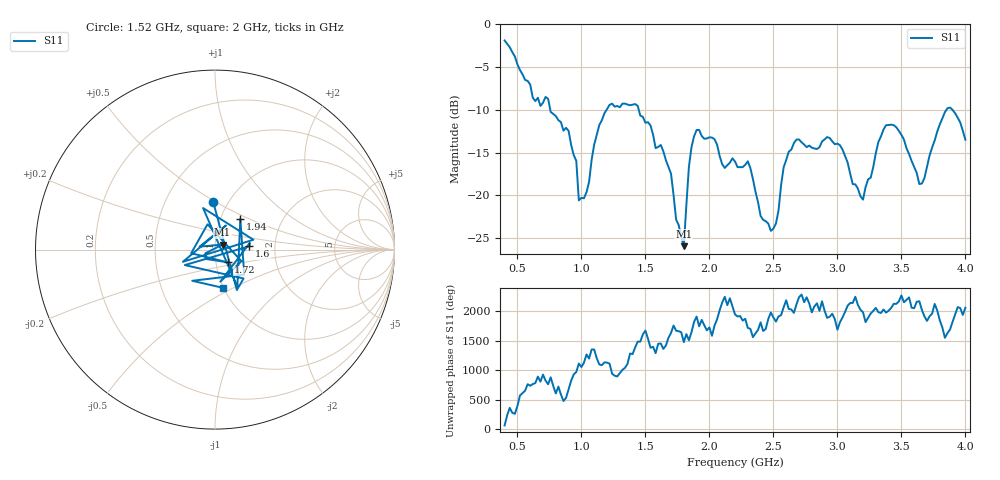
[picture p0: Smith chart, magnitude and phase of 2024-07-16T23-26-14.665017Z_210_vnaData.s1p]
!Created with skrf (http://scikit-rf.org).
# Hz S RI R 50.0
!freq ReS11 ImS11
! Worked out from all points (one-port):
!   181 points, 400 MHz to 4 GHz, reference 50 ohm
!   lowest |S11| = -25.9 dB at 1.8 GHz (marker M1), VSWR 1.11, Z = 54.3 + j3.04 ohm
!   |S11| at or under -10 dB: 756.8 MHz to 1.197 GHz (440.1 MHz wide, 45 % of centre); 1.448 GHz to 3.852 GHz (2.404 GHz wide, 90.7 % of centre); 3.899 GHz to end of sweep
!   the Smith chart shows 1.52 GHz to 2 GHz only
!   S11 on the Smith chart (normalised r, x): 1.52 GHz: 0.85, +0.49; 1.6 GHz: 1.47, +0.06; 1.72 GHz: 1.14, -0.16; 1.94 GHz: 1.24, +0.45; 2 GHz: 1.00, -0.45
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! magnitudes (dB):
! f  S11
! 400 MHz  -1.9
! 860 MHz  -12.4
! 960 MHz  -16.0
! 980 MHz  -20.6
! 1.02 GHz  -20.3
! 1.14 GHz  -11.8
! 1.3 GHz  -9.7
! 1.52 GHz  -11.4
! 1.6 GHz  -14.3
! 1.72 GHz  -20.0
! 1.76 GHz  -23.4
! 1.8 GHz  -25.9
! 1.86 GHz  -14.4
! 1.94 GHz  -13.1
! 2 GHz  -13.2
! 2.12 GHz  -16.8
! 2.2 GHz  -16.0
! 2.3 GHz  -16.0
! 2.48 GHz  -24.1
! 2.66 GHz  -13.9
! 2.94 GHz  -13.3
! 3.1 GHz  -17.5
! 3.2 GHz  -20.5
! 3.38 GHz  -11.8
! 3.56 GHz  -15.2
! 3.66 GHz  -18.6
! 3.86 GHz  -9.8
! 4 GHz  -13.5
